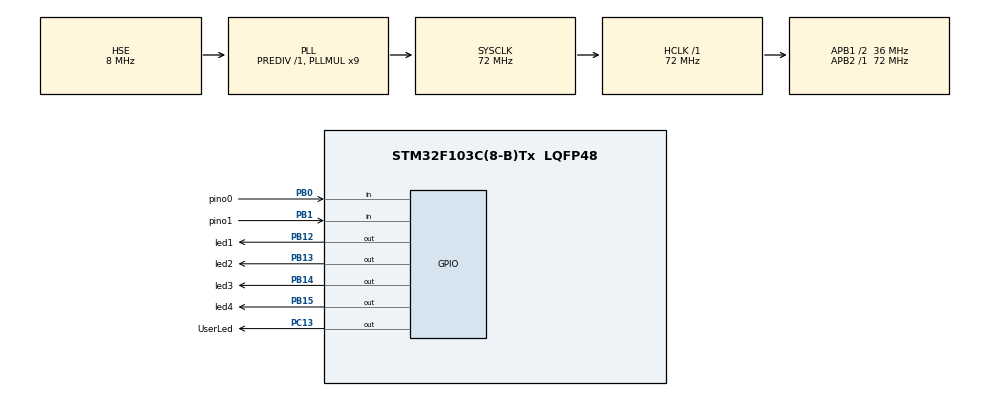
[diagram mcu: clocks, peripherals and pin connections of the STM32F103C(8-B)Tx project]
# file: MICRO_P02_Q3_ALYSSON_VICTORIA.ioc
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<<<<<<< HEAD
Mcu.Family=STM32F1
Mcu.Name=STM32F103C(8-B)Tx
Mcu.Package=LQFP48
NVIC.PriorityGroup=NVIC_PRIORITYGROUP_4
PA13.Mode=Serial_Wire
PA13.Signal=SYS_JTMS-SWDIO
PA14.Mode=Serial_Wire
PA14.Signal=SYS_JTCK-SWCLK
PB0.GPIO_Label=pino0
PB0.GPIO_PuPd=GPIO_PULLUP
PB0.Signal=GPIO_Input
PB1.GPIO_Label=pino1
PB1.GPIO_PuPd=GPIO_PULLUP
PB1.Signal=GPIO_Input
PB12.GPIO_Label=led1
PB12.GPIO_Speed=GPIO_SPEED_FREQ_LOW
PB12.PinState=GPIO_PIN_SET
PB12.Signal=GPIO_Output
PB13.GPIO_Label=led2
PB13.GPIO_Speed=GPIO_SPEED_FREQ_LOW
PB13.PinState=GPIO_PIN_SET
PB13.Signal=GPIO_Output
PB14.GPIO_Label=led3
PB14.GPIO_Speed=GPIO_SPEED_FREQ_LOW
PB14.PinState=GPIO_PIN_SET
PB14.Signal=GPIO_Output
PB15.GPIO_Label=led4
PB15.GPIO_Speed=GPIO_SPEED_FREQ_LOW
PB15.PinState=GPIO_PIN_SET
PB15.Signal=GPIO_Output
PC13-TAMPER-RTC.GPIO_Label=UserLed
PC13-TAMPER-RTC.PinState=GPIO_PIN_SET
PC13-TAMPER-RTC.Signal=GPIO_Output
PD0-OSC_IN.Mode=HSE-External-Oscillator
PD0-OSC_IN.Signal=RCC_OSC_IN
PD1-OSC_OUT.Mode=HSE-External-Oscillator
PD1-OSC_OUT.Signal=RCC_OSC_OUT
ProjectManager.HeapSize=0x200
ProjectManager.StackSize=0x400
ProjectManager.TargetToolchain=STM32CubeIDE
RCC.AHBFreq_Value=72000000
RCC.APB1CLKDivider=RCC_HCLK_DIV2
RCC.APB1Freq_Value=36000000
RCC.APB1TimFreq_Value=72000000
RCC.APB2Freq_Value=72000000
RCC.APB2TimFreq_Value=72000000
RCC.HCLKFreq_Value=72000000
RCC.PLLMUL=RCC_PLL_MUL9
RCC.PLLSourceVirtual=RCC_PLLSOURCE_HSE
RCC.SYSCLKFreq_VALUE=72000000
RCC.SYSCLKSource=RCC_SYSCLKSOURCE_PLLCLK
RCC.USBFreq_Value=72000000
board=custom
=======
Mcu.Family=STM32F1
Mcu.Name=STM32F103C(8-B)Tx
Mcu.Package=LQFP48
NVIC.PriorityGroup=NVIC_PRIORITYGROUP_4
PA13.Mode=Serial_Wire
PA13.Signal=SYS_JTMS-SWDIO
PA14.Mode=Serial_Wire
PA14.Signal=SYS_JTCK-SWCLK
PB0.GPIO_Label=pino0
PB0.GPIO_PuPd=GPIO_PULLUP
PB0.Signal=GPIO_Input
PB1.GPIO_Label=pino1
PB1.GPIO_PuPd=GPIO_PULLUP
PB1.Signal=GPIO_Input
PB12.GPIO_Label=led1
PB12.GPIO_Speed=GPIO_SPEED_FREQ_LOW
PB12.PinState=GPIO_PIN_SET
PB12.Signal=GPIO_Output
PB13.GPIO_Label=led2
PB13.GPIO_Speed=GPIO_SPEED_FREQ_LOW
PB13.PinState=GPIO_PIN_SET
PB13.Signal=GPIO_Output
PB14.GPIO_Label=led3
PB14.GPIO_Speed=GPIO_SPEED_FREQ_LOW
PB14.PinState=GPIO_PIN_SET
PB14.Signal=GPIO_Output
PB15.GPIO_Label=led4
PB15.GPIO_Speed=GPIO_SPEED_FREQ_LOW
PB15.PinState=GPIO_PIN_SET
PB15.Signal=GPIO_Output
PC13-TAMPER-RTC.GPIO_Label=UserLed
PC13-TAMPER-RTC.PinState=GPIO_PIN_SET
PC13-TAMPER-RTC.Signal=GPIO_Output
PD0-OSC_IN.Mode=HSE-External-Oscillator
PD0-OSC_IN.Signal=RCC_OSC_IN
PD1-OSC_OUT.Mode=HSE-External-Oscillator
PD1-OSC_OUT.Signal=RCC_OSC_OUT
ProjectManager.HeapSize=0x200
ProjectManager.StackSize=0x400
ProjectManager.TargetToolchain=STM32CubeIDE
RCC.AHBFreq_Value=72000000
RCC.APB1CLKDivider=RCC_HCLK_DIV2
RCC.APB1Freq_Value=36000000
RCC.APB1TimFreq_Value=72000000
RCC.APB2Freq_Value=72000000
RCC.APB2TimFreq_Value=72000000
RCC.HCLKFreq_Value=72000000
RCC.PLLMUL=RCC_PLL_MUL9
RCC.PLLSourceVirtual=RCC_PLLSOURCE_HSE
RCC.SYSCLKFreq_VALUE=72000000
RCC.SYSCLKSource=RCC_SYSCLKSOURCE_PLLCLK
RCC.USBFreq_Value=72000000
board=custom
>>>>>>> 158059c239afb5ddf73a907e1009c8a5288f12c2

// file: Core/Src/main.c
<<<<<<< HEAD
/* USER CODE BEGIN Header */
/**
  ******************************************************************************
  * @file           : main.c
  * @brief          : Questão 3 - Criando uma Máquina de Estados Simples
  * @authors        : Alysson Lucas Pontes Cavalcante da Silva e Maria Victória Martins Neves
  * @date           : 25/03/2026
  * @description    : Criar uma máquina de estados para os LEDs
  * 				considerando o Delay blocante
  ******************************************************************************
  */
/* USER CODE END Header */

#include "main.h"

void SystemClock_Config(void);
static void MX_GPIO_Init(void);

int main(void)
{

  /* USER CODE BEGIN 1 */
	// DEFINIÇÃO DE VARIÁVEIS
	int	contD1=0, contD2=0, contUser=0;							// Contadores para os LEDs
	int	estado_atual = 0, estado_anterior=0, estado_leds=0;		// Variáveis para salvar os estados
	int	sequencia=1;											// Auxiliar para o terceiro caso
  /* USER CODE END 1 */

  /* MCU Configuration--------------------------------------------------------*/

  /* Reset of all peripherals, Initializes the Flash interface and the Systick. */
  HAL_Init();

  /* Configure the system clock */
  SystemClock_Config();

  /* Initialize all configured peripherals */
  MX_GPIO_Init();

  /* Infinite loop */
  /* USER CODE BEGIN WHILE */

  while (1)
  {
	  // Padroniza a contagem de tempo através do MDC entre os intervalos de tempo
	  HAL_Delay(100);

	  // Incrementa os contadores a cada intervalo de 100ms
	  contD1++; contD2++; contUser++;

	  // Variáveis locais para ler o valor de cada botão
	  int SW1 = HAL_GPIO_ReadPin(pino0_GPIO_Port, pino0_Pin);	// Botão 1
	  int SW2 = HAL_GPIO_ReadPin(pino1_GPIO_Port, pino1_Pin);	// Botão 2

	  // IDENTIFICAÇÃO DO ESTADO
	  if (SW1==GPIO_PIN_SET && SW2==GPIO_PIN_SET){
		  estado_atual=0;	// Nenhum botão pressionado: define o estado 0

	  } else if (SW1==GPIO_PIN_RESET && SW2==GPIO_PIN_SET){
  		  estado_atual=1;	// Apenas botão 1 pressionado: define o estado 1

 	  } else if (SW1==GPIO_PIN_SET && SW2==GPIO_PIN_RESET){
	  	  estado_atual=2;	// Apenas botão 2 pressionado: define o estado 2

	  } else if (SW1==GPIO_PIN_RESET && SW2==GPIO_PIN_RESET){
	  	  estado_atual=3;	// Dois botões pressionados: define o estado 4
	  }

	  // REINÍCIO DO SISTEMA
	  if (estado_atual != estado_anterior){	// Verifica se o estado mudou

		  contD1 = 0;		// Caso o estado tenha mudado,
	      contD2 = 0;		// zera todos os contadores
	      contUser = 0;		// e o novo estado inicia com todos os LEDs desligados
	      sequencia = 1;
	      estado_leds = 0;

          HAL_GPIO_WritePin(led1_GPIO_Port, led1_Pin, GPIO_PIN_SET);
          HAL_GPIO_WritePin(led2_GPIO_Port, led2_Pin, GPIO_PIN_SET);
          HAL_GPIO_WritePin(led3_GPIO_Port, led3_Pin, GPIO_PIN_SET);
          HAL_GPIO_WritePin(led4_GPIO_Port, led4_Pin, GPIO_PIN_SET);

          estado_anterior = estado_atual;	// Atualiza o estado
	   }

	  switch (estado_atual){

	  	  case 0:	// LEDs D1-D4 piscando todos com o mesmo valor a cada 500 ms

	  		  // DEFINIÇÃO DO INTERVALO DE TEMPO
	  		  // O valor escolhido deve ser múltiplo de 100ms
	  		  int timeON_0 = 5;// Tempo simétrico para acender e apagar os LEDs

	  		  if (contD1>=timeON_0){		// Verifica se passou o tempo desejado
	  			  if (estado_leds == 0) {	// Caso esteja apagado, acende
	  				  estado_leds = 1;		// GPIO_PIN_SET
	  			  } else {					// Caso esteja aceso, apaga
	  				  estado_leds = 0;		// GPIO_PIN_RESET
	  			  }
	  			  HAL_GPIO_WritePin(led1_GPIO_Port, led1_Pin, estado_leds);	// "Escreve" o estado no D1
	  			  HAL_GPIO_WritePin(led2_GPIO_Port, led2_Pin, estado_leds);	// "Escreve" o estado no D2
	  			  HAL_GPIO_WritePin(led3_GPIO_Port, led3_Pin, estado_leds);	// "Escreve" o estado no D3
	  			  HAL_GPIO_WritePin(led4_GPIO_Port, led4_Pin, estado_leds);	// "Escreve" o estado no D4
	  			  contD1=0;		// Zera o contador
	  		  }
	          break;

	  	case 1:	// LEDs D1 e D3 devem piscar 100 ms acessos, 500 ms apagados; e
	  			// D2 e D4 devem piscar 300 ms apagados, 300 ms acesos (nessa ordem)

	  		// DEFINIÇÃO DOS INTERVALOS DE TEMPO
	  		// Os valores escolhidos devem ser múltiplos de 100ms
	  		int timeON_D1_1 = 1, timeOFF_D1_1 = 5;
	  		int timeON_D2_1 = 3;	// Tempo simétrico para acender e apagar os LEDs

	  		// LEDs 1 e 3
	  		if (HAL_GPIO_ReadPin(led1_GPIO_Port, led1_Pin) == GPIO_PIN_SET){ // Se D1 apagado
                  if (contD1 >= timeOFF_D1_1) {	// Verifica se passou o tempo desejado
  	                      HAL_GPIO_WritePin(led1_GPIO_Port, led1_Pin, GPIO_PIN_RESET);	// Acende D1
  	                      HAL_GPIO_WritePin(led3_GPIO_Port, led3_Pin, GPIO_PIN_RESET);	// Acende D3
  	                      contD1 = 0;		// Zera o contador
                  }
            } else { 	// Se D1 aceso
                  if (contD1 >= timeON_D1_1) {	// Verifica se passou o tempo desejado
  	                      HAL_GPIO_WritePin(led1_GPIO_Port, led1_Pin, GPIO_PIN_SET);	// Apaga D1
  	                      HAL_GPIO_WritePin(led3_GPIO_Port, led3_Pin, GPIO_PIN_SET);	// Apaga D3
  	                      contD1 = 0;		// Zera o contador
                  }
            }

	  		// LEDs 2 e 4
	        if (contD2 >= timeON_D2_1) {	// Verifica se passou o tempo desejado
	  	          HAL_GPIO_TogglePin(led2_GPIO_Port, led2_Pin);		// Inverte o valor do D2
	  	          HAL_GPIO_TogglePin(led4_GPIO_Port, led4_Pin);		// Inverte o valor do D4
	  	          contD2 = 0;		// Zera o contador
	        }
	  	    break;

	  	  case 2:	// Apenas um led deve ficar acesso a cada 500 milissegundos,
	  		  	  	// seguindo a ordem: D1 → D2 → D3 → D4 → D1 ...

	  		  // DEFINIÇÃO DO INTERVALO DE TEMPO
	  		  // O valor escolhido deve ser múltiplo de 100ms
	   		  int timeON_2 = 5;// Tempo simétrico para acender e apagar os LEDs

	  		  if (contD1 >= timeON_2) {	// Verifica se passou o tempo desejado

	  		        // DEFINE A SEQUÊNCIA DE ACENDIMENTO DOS LEDs
					if (sequencia==1) {	// A sequência foi definida como 1, então começa aqui
						HAL_GPIO_WritePin(led1_GPIO_Port, led1_Pin, GPIO_PIN_RESET); // Acende D1
						HAL_GPIO_WritePin(led2_GPIO_Port, led2_Pin, GPIO_PIN_SET);
						HAL_GPIO_WritePin(led3_GPIO_Port, led3_Pin, GPIO_PIN_SET);
						HAL_GPIO_WritePin(led4_GPIO_Port, led4_Pin, GPIO_PIN_SET);
						sequencia=2;	// A sequência prossegue

					} else if (sequencia==2) {
						HAL_GPIO_WritePin(led2_GPIO_Port, led2_Pin, GPIO_PIN_RESET); // Acende D2
						HAL_GPIO_WritePin(led1_GPIO_Port, led1_Pin, GPIO_PIN_SET);
						HAL_GPIO_WritePin(led3_GPIO_Port, led3_Pin, GPIO_PIN_SET);
						HAL_GPIO_WritePin(led4_GPIO_Port, led4_Pin, GPIO_PIN_SET);
						sequencia=3;

					} else if (sequencia==3) {
						HAL_GPIO_WritePin(led3_GPIO_Port, led3_Pin, GPIO_PIN_RESET); // Acende D3
						HAL_GPIO_WritePin(led1_GPIO_Port, led1_Pin, GPIO_PIN_SET);
						HAL_GPIO_WritePin(led2_GPIO_Port, led2_Pin, GPIO_PIN_SET);
						HAL_GPIO_WritePin(led4_GPIO_Port, led4_Pin, GPIO_PIN_SET);
						sequencia=4;

					} else if (sequencia==4) {
						HAL_GPIO_WritePin(led4_GPIO_Port, led4_Pin, GPIO_PIN_RESET); // Acende D4
						HAL_GPIO_WritePin(led1_GPIO_Port, led1_Pin, GPIO_PIN_SET);
						HAL_GPIO_WritePin(led2_GPIO_Port, led2_Pin, GPIO_PIN_SET);
						HAL_GPIO_WritePin(led3_GPIO_Port, led3_Pin, GPIO_PIN_SET);
						sequencia=1;	// Reinicia a sequência
					}

	  		        contD1 = 0;		// Zera o contador
	  		  }
	  		  break;

	  	  case 3:	// Caso não pré-definido, a escolha foi acender todos os LEDs
	  		  HAL_GPIO_WritePin(led1_GPIO_Port, led1_Pin, GPIO_PIN_RESET); // Acende D1
	  	      HAL_GPIO_WritePin(led2_GPIO_Port, led2_Pin, GPIO_PIN_RESET); // Acende D2
	  	      HAL_GPIO_WritePin(led3_GPIO_Port, led3_Pin, GPIO_PIN_RESET); // Acende D3
	  	      HAL_GPIO_WritePin(led4_GPIO_Port, led4_Pin, GPIO_PIN_RESET); // Acende D4
	  	      break;

	  	  default:	// Caso ocorra algum erro
	  	      estado_atual = 0;		// Retorna ao estado inicial
	  	      break;
	  } // Fim do switch

	  // CONTROLE DA USERLED DA BLUEPILL
	  // Definição dos intervalos de tempo
	  // Os valores escolhidos devem ser múltiplos de 100ms
	  int timeON_UserLed = 1, timeOFF_UserLed = 19;

  	  if (HAL_GPIO_ReadPin(UserLed_GPIO_Port, UserLed_Pin)==GPIO_PIN_SET){	// Se UserLed apagado
  		  if (contUser>=timeOFF_UserLed){	// Verifica se passou o tempo desejado
  			  HAL_GPIO_WritePin(UserLed_GPIO_Port, UserLed_Pin, GPIO_PIN_RESET);	// Acende UserLed
  			  contUser=0;		// Zera o contador
  		  }
  	  } else{
  		  if (contUser>=timeON_UserLed){		// Verifica se passou o tempo desejado
  			  HAL_GPIO_WritePin(UserLed_GPIO_Port, UserLed_Pin, GPIO_PIN_SET);	// Apaga UserLed
  			  contUser=0;		// Zera o contador
  		  }
  	  }

    /* USER CODE END WHILE */

  }
}

void SystemClock_Config(void)
{
  RCC_OscInitTypeDef RCC_OscInitStruct = {0};
  RCC_ClkInitTypeDef RCC_ClkInitStruct = {0};

  /** Initializes the RCC Oscillators according to the specified parameters
  * in the RCC_OscInitTypeDef structure.
  */
  RCC_OscInitStruct.OscillatorType = RCC_OSCILLATORTYPE_HSE;
  RCC_OscInitStruct.HSEState = RCC_HSE_ON;
  RCC_OscInitStruct.HSEPredivValue = RCC_HSE_PREDIV_DIV1;
  RCC_OscInitStruct.HSIState = RCC_HSI_ON;
  RCC_OscInitStruct.PLL.PLLState = RCC_PLL_ON;
  RCC_OscInitStruct.PLL.PLLSource = RCC_PLLSOURCE_HSE;
  RCC_OscInitStruct.PLL.PLLMUL = RCC_PLL_MUL9;
  if (HAL_RCC_OscConfig(&RCC_OscInitStruct) != HAL_OK)
  {
    Error_Handler();
  }

  /** Initializes the CPU, AHB and APB buses clocks
  */
  RCC_ClkInitStruct.ClockType = RCC_CLOCKTYPE_HCLK|RCC_CLOCKTYPE_SYSCLK
                              |RCC_CLOCKTYPE_PCLK1|RCC_CLOCKTYPE_PCLK2;
  RCC_ClkInitStruct.SYSCLKSource = RCC_SYSCLKSOURCE_PLLCLK;
  RCC_ClkInitStruct.AHBCLKDivider = RCC_SYSCLK_DIV1;
  RCC_ClkInitStruct.APB1CLKDivider = RCC_HCLK_DIV2;
  RCC_ClkInitStruct.APB2CLKDivider = RCC_HCLK_DIV1;

  if (HAL_RCC_ClockConfig(&RCC_ClkInitStruct, FLASH_LATENCY_2) != HAL_OK)
  {
    Error_Handler();
  }
}

static void MX_GPIO_Init(void)
{
  GPIO_InitTypeDef GPIO_InitStruct = {0};

  /* GPIO Ports Clock Enable */
  __HAL_RCC_GPIOC_CLK_ENABLE();
  __HAL_RCC_GPIOD_CLK_ENABLE();
  __HAL_RCC_GPIOB_CLK_ENABLE();
  __HAL_RCC_GPIOA_CLK_ENABLE();

  /*Configure GPIO pin Output Level */
  HAL_GPIO_WritePin(UserLed_GPIO_Port, UserLed_Pin, GPIO_PIN_SET);

  /*Configure GPIO pin Output Level */
  HAL_GPIO_WritePin(GPIOB, led1_Pin|led2_Pin|led3_Pin|led4_Pin, GPIO_PIN_SET);

  /*Configure GPIO pin : UserLed_Pin */
  GPIO_InitStruct.Pin = UserLed_Pin;
  GPIO_InitStruct.Mode = GPIO_MODE_OUTPUT_PP;
  GPIO_InitStruct.Pull = GPIO_NOPULL;
  GPIO_InitStruct.Speed = GPIO_SPEED_FREQ_LOW;
  HAL_GPIO_Init(UserLed_GPIO_Port, &GPIO_InitStruct);

  /*Configure GPIO pins : pino0_Pin pino1_Pin */
  GPIO_InitStruct.Pin = pino0_Pin|pino1_Pin;
  GPIO_InitStruct.Mode = GPIO_MODE_INPUT;
  GPIO_InitStruct.Pull = GPIO_PULLUP;
  HAL_GPIO_Init(GPIOB, &GPIO_InitStruct);

  /*Configure GPIO pins : led1_Pin led2_Pin led3_Pin led4_Pin */
  GPIO_InitStruct.Pin = led1_Pin|led2_Pin|led3_Pin|led4_Pin;
  GPIO_InitStruct.Mode = GPIO_MODE_OUTPUT_PP;
  GPIO_InitStruct.Pull = GPIO_NOPULL;
  GPIO_InitStruct.Speed = GPIO_SPEED_FREQ_LOW;
  HAL_GPIO_Init(GPIOB, &GPIO_InitStruct);

}

void Error_Handler(void)
{
  __disable_irq();
  while (1)
  {
  }
}
=======
/* USER CODE BEGIN Header */
/**
  ******************************************************************************
  * @file           : main.c
  * @brief          : Main program body
  ******************************************************************************
  * @attention
  *
  * Copyright (c) 2026 STMicroelectronics.
  * All rights reserved.
  *
  * This software is licensed under terms that can be found in the LICENSE file
  * in the root directory of this software component.
  * If no LICENSE file comes with this software, it is provided AS-IS.
  *
  ******************************************************************************
  */
/* USER CODE END Header */
#include "main.h"
#include "math.h"

void SystemClock_Config(void);
static void MX_GPIO_Init(void);

int main(void)
{

  /* MCU Configuration--------------------------------------------------------*/

  /* Reset of all peripherals, Initializes the Flash interface and the Systick. */
  HAL_Init();

  /* Configure the system clock */
  SystemClock_Config();

  /* Initialize all configured peripherals */
  MX_GPIO_Init();

  /* Infinite loop */
  /* USER CODE BEGIN WHILE */

  int	contD1=0, contD2=0, contUser=0, faseD4=0;
  int	estado_atual = 0, estado_leds=0;
  int 	sequencia=1;

  while (1)
  {
	  HAL_Delay(100);
	  contD1++; contD2++; contUser++;

	  int SW1 = HAL_GPIO_ReadPin(pino0_GPIO_Port, pino0_Pin);
	  int SW2 = HAL_GPIO_ReadPin(pino1_GPIO_Port, pino1_Pin);

	  if (SW1==GPIO_PIN_RESET && SW2==GPIO_PIN_RESET){
		  estado_atual=0;
	  } else if (SW1==GPIO_PIN_SET && SW2==GPIO_PIN_RESET){
  		  estado_atual=1;
 	  } else if (SW1==GPIO_PIN_RESET && SW2==GPIO_PIN_SET){
	  	  estado_atual=2;
	  } else if (SW1==GPIO_PIN_SET && SW2==GPIO_PIN_SET){
	  	  estado_atual=3;
	  }

	  // 2. A estrutura Switch avalia o valor dessa variável
	  switch (estado_atual){

	  	  case 0:
	  		  if (contD1>=5){
	  			  if (estado_leds == 0) {
	  				  estado_leds = 1; // GPIO_PIN_SET
	  			  } else {
	  				  estado_leds = 0; // GPIO_PIN_RESET
	  			  }
	  			  HAL_GPIO_WritePin(led1_GPIO_Port, led1_Pin, estado_leds);
	  			  HAL_GPIO_WritePin(led2_GPIO_Port, led2_Pin, estado_leds);
	  			  HAL_GPIO_WritePin(led3_GPIO_Port, led3_Pin, estado_leds);
	  			  HAL_GPIO_WritePin(led4_GPIO_Port, led4_Pin, estado_leds);
	  			  contD1=0;
	  		  }
	          break;

	  	case 1:
	  	              // 3. Lógica D1 e D3 arrumada (100ms aceso / 500ms apagado)

	  		if (HAL_GPIO_ReadPin(led1_GPIO_Port, led1_Pin) == GPIO_PIN_RESET){ // Se apagado
                  if (contD1 >= 5) { // Espera 500ms
  	                      HAL_GPIO_WritePin(led1_GPIO_Port, led1_Pin, GPIO_PIN_SET);
  	                      HAL_GPIO_WritePin(led3_GPIO_Port, led3_Pin, GPIO_PIN_SET);
  	                      contD1 = 0;
                  }
            } else { // Se aceso
                  if (contD1 >= 1) { // Espera 100ms
  	                      HAL_GPIO_WritePin(led1_GPIO_Port, led1_Pin, GPIO_PIN_RESET);
  	                      HAL_GPIO_WritePin(led3_GPIO_Port, led3_Pin, GPIO_PIN_RESET);
  	                      contD1 = 0;
                  }
            }

	         if (contD2 >= 3) {
	  	           HAL_GPIO_TogglePin(led2_GPIO_Port, led2_Pin);
	  	           HAL_GPIO_TogglePin(led4_GPIO_Port, led4_Pin);
	  	           contD2 = 0;
	  	      }
	  	             break;

	  	  case 2:

	  		  if (contD1 >= 5) {

	  			  	// 1. Apaga todo mundo (Garantia de que só um vai ficar aceso)
	  		        HAL_GPIO_WritePin(led1_GPIO_Port, led1_Pin, GPIO_PIN_SET);
	  		        HAL_GPIO_WritePin(led2_GPIO_Port, led2_Pin, GPIO_PIN_SET);
	  		        HAL_GPIO_WritePin(led3_GPIO_Port, led3_Pin, GPIO_PIN_SET);
	  		        HAL_GPIO_WritePin(led4_GPIO_Port, led4_Pin, GPIO_PIN_SET);

	  		        // 2. Acende o "da vez" e passa a bola pro próximo
	  		        if (sequencia==1) {
	  		            HAL_GPIO_WritePin(led1_GPIO_Port, led1_Pin, GPIO_PIN_RESET); // Acende D1
	  		            sequencia=2; // Prepara o D2 para a próxima rodada
	  		        } else if (sequencia==2) {
	  		            HAL_GPIO_WritePin(led2_GPIO_Port, led2_Pin, GPIO_PIN_RESET); // Acende D2
	  		            sequencia=3;
	  		        } else if (sequencia==3) {
	  		            HAL_GPIO_WritePin(led3_GPIO_Port, led3_Pin, GPIO_PIN_RESET); // Acende D3
	  		            sequencia=4;
	  		        } else if (sequencia==4) {
	  		            HAL_GPIO_WritePin(led4_GPIO_Port, led4_Pin, GPIO_PIN_RESET); // Acende D4
	  		            sequencia=1; // Chegou no fim? Volta pro D1!
	  		        }

	  		        // 3. Zera o cronômetro para esperar os próximos 500ms
	  		        contD1 = 0;
	  		  }
	  		  break;

	  	  case 3:
	  	            // Regra inventada por você: Se apertar os dois botões, apaga tudo.
	  	            // O UserLed continua piscando lá embaixo, pois está fora do switch!
	  		  HAL_GPIO_WritePin(led1_GPIO_Port, led1_Pin, GPIO_PIN_RESET);
	  	      HAL_GPIO_WritePin(led2_GPIO_Port, led2_Pin, GPIO_PIN_RESET);
	  	      HAL_GPIO_WritePin(led3_GPIO_Port, led3_Pin, GPIO_PIN_RESET);
	  	      HAL_GPIO_WritePin(led4_GPIO_Port, led4_Pin, GPIO_PIN_RESET);
	  	      break;

	  	  default:
	  	            // Trava de Segurança: se o 'estado_atual' assumir um valor maluco (ex: 5, 10, -1),
	  	            // nós forçamos o sistema a voltar para o estado inicial.
	  	      estado_atual = 0;
	  	      break;
	  	    } // Fim do switch

  	  if (HAL_GPIO_ReadPin(UserLed_GPIO_Port, UserLed_Pin)==GPIO_PIN_SET){
  		  if (contUser>=19){
  			  HAL_GPIO_WritePin(UserLed_GPIO_Port, UserLed_Pin, GPIO_PIN_RESET);
  			  contUser=0;
  		  }
  	  } else{
  		  if (contUser>=1){
  			  HAL_GPIO_WritePin(UserLed_GPIO_Port, UserLed_Pin, GPIO_PIN_SET);
  			  contUser=0;
  		  }
  	  }

    /* USER CODE END WHILE */

  }
}

void SystemClock_Config(void)
{
  RCC_OscInitTypeDef RCC_OscInitStruct = {0};
  RCC_ClkInitTypeDef RCC_ClkInitStruct = {0};

  /** Initializes the RCC Oscillators according to the specified parameters
  * in the RCC_OscInitTypeDef structure.
  */
  RCC_OscInitStruct.OscillatorType = RCC_OSCILLATORTYPE_HSE;
  RCC_OscInitStruct.HSEState = RCC_HSE_ON;
  RCC_OscInitStruct.HSEPredivValue = RCC_HSE_PREDIV_DIV1;
  RCC_OscInitStruct.HSIState = RCC_HSI_ON;
  RCC_OscInitStruct.PLL.PLLState = RCC_PLL_ON;
  RCC_OscInitStruct.PLL.PLLSource = RCC_PLLSOURCE_HSE;
  RCC_OscInitStruct.PLL.PLLMUL = RCC_PLL_MUL9;
  if (HAL_RCC_OscConfig(&RCC_OscInitStruct) != HAL_OK)
  {
    Error_Handler();
  }

  /** Initializes the CPU, AHB and APB buses clocks
  */
  RCC_ClkInitStruct.ClockType = RCC_CLOCKTYPE_HCLK|RCC_CLOCKTYPE_SYSCLK
                              |RCC_CLOCKTYPE_PCLK1|RCC_CLOCKTYPE_PCLK2;
  RCC_ClkInitStruct.SYSCLKSource = RCC_SYSCLKSOURCE_PLLCLK;
  RCC_ClkInitStruct.AHBCLKDivider = RCC_SYSCLK_DIV1;
  RCC_ClkInitStruct.APB1CLKDivider = RCC_HCLK_DIV2;
  RCC_ClkInitStruct.APB2CLKDivider = RCC_HCLK_DIV1;

  if (HAL_RCC_ClockConfig(&RCC_ClkInitStruct, FLASH_LATENCY_2) != HAL_OK)
  {
    Error_Handler();
  }
}

static void MX_GPIO_Init(void)
{
  GPIO_InitTypeDef GPIO_InitStruct = {0};

  /* GPIO Ports Clock Enable */
  __HAL_RCC_GPIOC_CLK_ENABLE();
  __HAL_RCC_GPIOD_CLK_ENABLE();
  __HAL_RCC_GPIOB_CLK_ENABLE();
  __HAL_RCC_GPIOA_CLK_ENABLE();

  /*Configure GPIO pin Output Level */
  HAL_GPIO_WritePin(UserLed_GPIO_Port, UserLed_Pin, GPIO_PIN_SET);

  /*Configure GPIO pin Output Level */
  HAL_GPIO_WritePin(GPIOB, led1_Pin|led2_Pin|led3_Pin|led4_Pin, GPIO_PIN_SET);

  /*Configure GPIO pin : UserLed_Pin */
  GPIO_InitStruct.Pin = UserLed_Pin;
  GPIO_InitStruct.Mode = GPIO_MODE_OUTPUT_PP;
  GPIO_InitStruct.Pull = GPIO_NOPULL;
  GPIO_InitStruct.Speed = GPIO_SPEED_FREQ_LOW;
  HAL_GPIO_Init(UserLed_GPIO_Port, &GPIO_InitStruct);

  /*Configure GPIO pins : pino0_Pin pino1_Pin */
  GPIO_InitStruct.Pin = pino0_Pin|pino1_Pin;
  GPIO_InitStruct.Mode = GPIO_MODE_INPUT;
  GPIO_InitStruct.Pull = GPIO_PULLUP;
  HAL_GPIO_Init(GPIOB, &GPIO_InitStruct);

  /*Configure GPIO pins : led1_Pin led2_Pin led3_Pin led4_Pin */
  GPIO_InitStruct.Pin = led1_Pin|led2_Pin|led3_Pin|led4_Pin;
  GPIO_InitStruct.Mode = GPIO_MODE_OUTPUT_PP;
  GPIO_InitStruct.Pull = GPIO_NOPULL;
  GPIO_InitStruct.Speed = GPIO_SPEED_FREQ_LOW;
  HAL_GPIO_Init(GPIOB, &GPIO_InitStruct);

}

void Error_Handler(void)
{
  __disable_irq();
  while (1)
  {
  }
}
>>>>>>> 158059c239afb5ddf73a907e1009c8a5288f12c2
